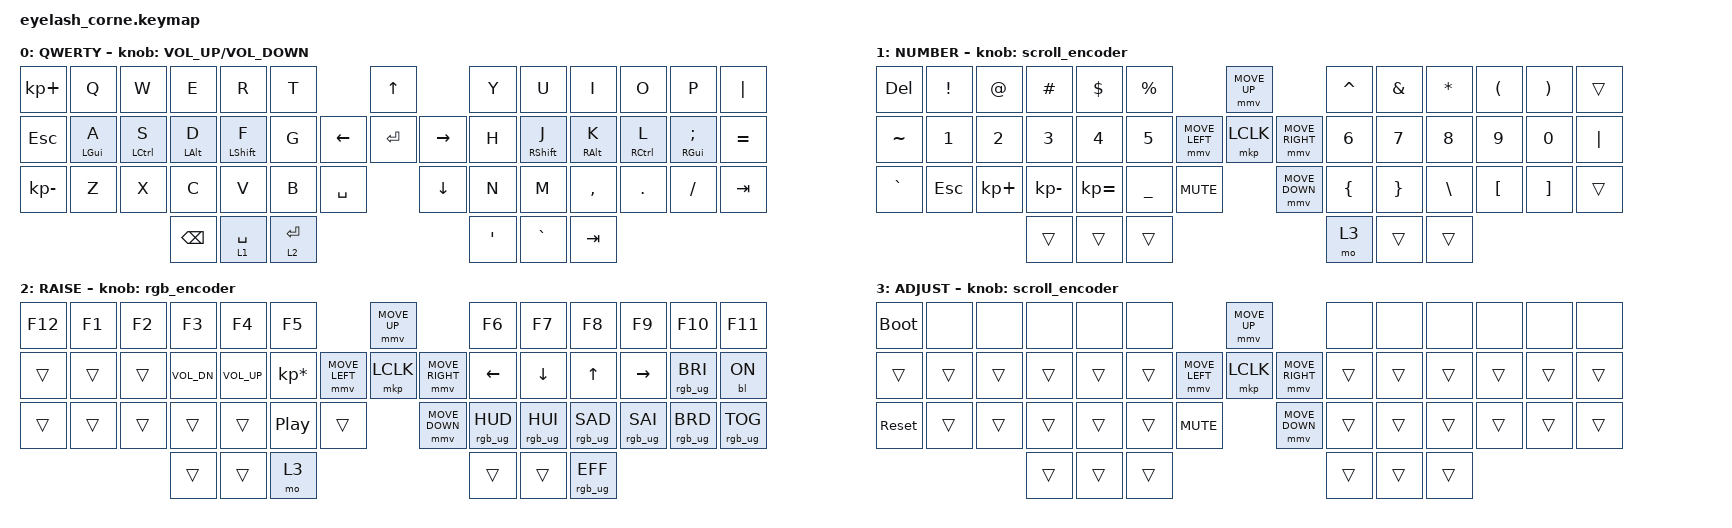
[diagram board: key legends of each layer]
#include <dt-bindings/zmk/mouse.h>
#include <input/processors.dtsi>
#include <behaviors.dtsi>
#include <dt-bindings/zmk/backlight.h>
#include <dt-bindings/zmk/keys.h>
#include <dt-bindings/zmk/pointing.h>
#include <dt-bindings/zmk/rgb.h>

/*

   &mmv_input_listener {
       input-processors = <&zip_xy_scaler 2 1>;
   };

   &msc_input_listener {
       input-processors = <&zip_xy_scaler 2 1>;
   };

 */

#define ZMK_MOUSE_DEFAULT_MOVE_VAL 1200  // 600
#define ZMK_MOUSE_DEFAULT_SCRL_VAL 20    // 10

&mt {
    flavor = "tap-preferred";
    tapping-term-ms = <300>;
    quick-tap-ms = <100>;
};

/ {
    behaviors {
        td0: td0 {
            compatible = "zmk,behavior-tap-dance";
            display-name = "Shift/Caps Lock Tap Dance";
            #binding-cells = <0>;
            bindings = <&kp LEFT_SHIFT>, <&kp CAPS>;
        };

        rgb_colors: rgb_colors {
            compatible = "zmk,behavior-sensor-rotate";
            label = "RGB_COLORS";
            #sensor-binding-cells = <0>;
            bindings = <&rgb_ug RGB_HUI>, <&rgb_ug RGB_HUD>;
        };
    };

    rgb_encoder: rgb_encoder {
        compatible = "zmk,behavior-sensor-rotate";
        #sensor-binding-cells = <0>;
        bindings = <&rgb_ug RGB_HUI>, <&rgb_ug RGB_HUD>;

        tap-ms = <1>;
        label = "rgb";
    };

    scroll_encoder: scroll_encoder {
        compatible = "zmk,behavior-sensor-rotate";
        #sensor-binding-cells = <0>;
        bindings = <&msc SCRL_DOWN>, <&msc SCRL_UP>;

        tap-ms = <30>;
    };

    keymap {
        compatible = "zmk,keymap";

        default_layer {
            display-name = "QWERTY";
            bindings = <
&kp KP_PLUS   &kp Q           &kp W        &kp E           &kp R             &kp T                               &kp UP                &kp Y             &kp U              &kp I            &kp O        &kp P               &kp PIPE
&kp ESCAPE    &mt LEFT_GUI A  &mt LCTRL S  &mt LEFT_ALT D  &mt LEFT_SHIFT F  &kp G                     &kp LEFT  &kp ENTER  &kp RIGHT  &kp H             &mt RIGHT_SHIFT J  &mt RIGHT_ALT K  &mt RCTRL L  &mt RIGHT_GUI SEMI  &kp EQUAL
&kp KP_MINUS  &kp Z           &kp X        &kp C           &kp V             &kp B        &kp SPACE              &kp DOWN              &kp N             &kp M              &kp COMMA        &kp DOT      &kp FSLH            &kp TAB
                                           &kp BACKSPACE   &lt 1 SPACE       &lt 2 ENTER                                               &kp SINGLE_QUOTE  &kp GRAVE          &kp TAB
            >;

            sensor-bindings = <&inc_dec_kp C_VOLUME_UP C_VOLUME_DOWN>;
        };

        lower_layer {
            display-name = "NUMBER";
            bindings = <
&kp DEL    &kp EXCL      &kp AT        &kp HASH      &kp DLLR      &kp PERCENT                                &mmv MOVE_UP                     &kp CARET       &kp AMPS         &kp ASTRK      &kp LEFT_PARENTHESIS  &kp RIGHT_PARENTHESIS  &trans
&kp TILDE  &kp NUMBER_1  &kp NUMBER_2  &kp NUMBER_3  &kp NUMBER_4  &kp N5                     &mmv MOVE_LEFT  &mkp LCLK       &mmv MOVE_RIGHT  &kp NUMBER_6    &kp N7           &kp N8         &kp N9                &kp N0                 &kp PIPE
&kp GRAVE  &kp ESCAPE    &kp KP_PLUS   &kp KP_MINUS  &kp KP_EQUAL  &kp UNDER    &kp C_MUTE                    &mmv MOVE_DOWN                   &kp LEFT_BRACE  &kp RIGHT_BRACE  &kp BACKSLASH  &kp LEFT_BRACKET      &kp RIGHT_BRACKET      &trans
                                       &trans        &trans        &trans                                                                      &mo 3           &trans           &trans
            >;

            sensor-bindings = <&scroll_encoder>;
            label = "LOWER";
        };

        raise_layer {
            display-name = "RAISE";
            bindings = <
&kp F12  &kp F1  &kp F2  &kp F3        &kp F4           &kp F5                                      &mmv MOVE_UP                     &kp F6           &kp F7           &kp F8           &kp F9           &kp F10          &kp F11
&trans   &trans  &trans  &kp C_VOL_DN  &kp C_VOLUME_UP  &kp KP_MULTIPLY             &mmv MOVE_LEFT  &mkp LCLK       &mmv MOVE_RIGHT  &kp LEFT         &kp DOWN_ARROW   &kp UP_ARROW     &kp RIGHT        &rgb_ug RGB_BRI  &bl BL_ON
&trans   &trans  &trans  &trans        &trans           &kp C_PLAY_PAUSE  &trans                    &mmv MOVE_DOWN                   &rgb_ug RGB_HUD  &rgb_ug RGB_HUI  &rgb_ug RGB_SAD  &rgb_ug RGB_SAI  &rgb_ug RGB_BRD  &rgb_ug RGB_TOG
                         &trans        &trans           &mo 3                                                                        &trans           &trans           &rgb_ug RGB_EFF
            >;

            sensor-bindings = <&rgb_encoder>;
        };

        layer_3 {
            display-name = "ADJUST";
            bindings = <
&bootloader  &none   &none   &none   &none   &none                                 &mmv MOVE_UP                     &none   &none   &none   &none   &none   &none
&trans       &trans  &trans  &trans  &trans  &trans                &mmv MOVE_LEFT  &mkp LCLK       &mmv MOVE_RIGHT  &trans  &trans  &trans  &trans  &trans  &trans
&sys_reset   &trans  &trans  &trans  &trans  &trans  &kp C_MUTE                    &mmv MOVE_DOWN                   &trans  &trans  &trans  &trans  &trans  &trans
                             &trans  &trans  &trans                                                                 &trans  &trans  &trans
            >;

            sensor-bindings = <&scroll_encoder>;
        };
    };
};
